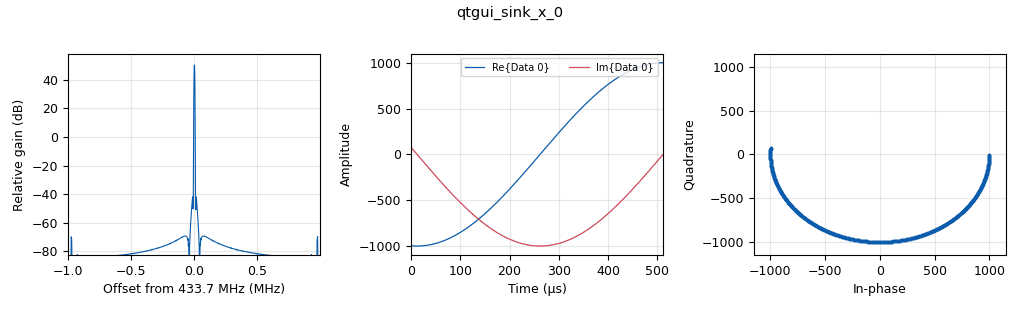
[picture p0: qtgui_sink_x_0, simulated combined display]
options:
  parameters:
    author: pushqin
    generate_options: qt_gui
    id: jamming_only
    output_language: python
    title: jamming_only
  states: {}

blocks:
- name: samp_rate
  id: variable
  parameters:
    value: 2e6
  states: {}
- name: analog_sig_source_x_0
  id: analog_sig_source_x
  parameters:
    amp: '1000'
    freq: '1000'
    offset: '0'
    phase: '0'
    samp_rate: samp_rate
    type: complex
    waveform: analog.GR_COS_WAVE
  states: {}
- name: blocks_throttle_0
  id: blocks_throttle
  parameters:
    samples_per_second: samp_rate
    type: complex
  states: {}
- name: note_0
  id: note
  parameters:
    note: jamming
  states: {}
- name: note_1
  id: note
  parameters:
    note: 'TODO: check if its really jamming'
  states: {}
- name: osmosdr_sink_0
  id: osmosdr_sink
  parameters:
    bb_gain0: '40'
    freq0: 43371e4
    gain0: '10'
    if_gain0: '60'
    sample_rate: samp_rate
    sync: sync
    type: fc32
  states: {}
- name: qtgui_sink_x_0
  id: qtgui_sink_x
  parameters:
    bw: samp_rate
    fc: 4337e5
    fftsize: '1024'
    type: complex
    wintype: firdes.WIN_BLACKMAN_hARRIS
  states: {}

connections:
- [analog_sig_source_x_0, '0', blocks_throttle_0, '0']
- [blocks_throttle_0, '0', osmosdr_sink_0, '0']
- [blocks_throttle_0, '0', qtgui_sink_x_0, '0']

metadata:
  file_format: 1
